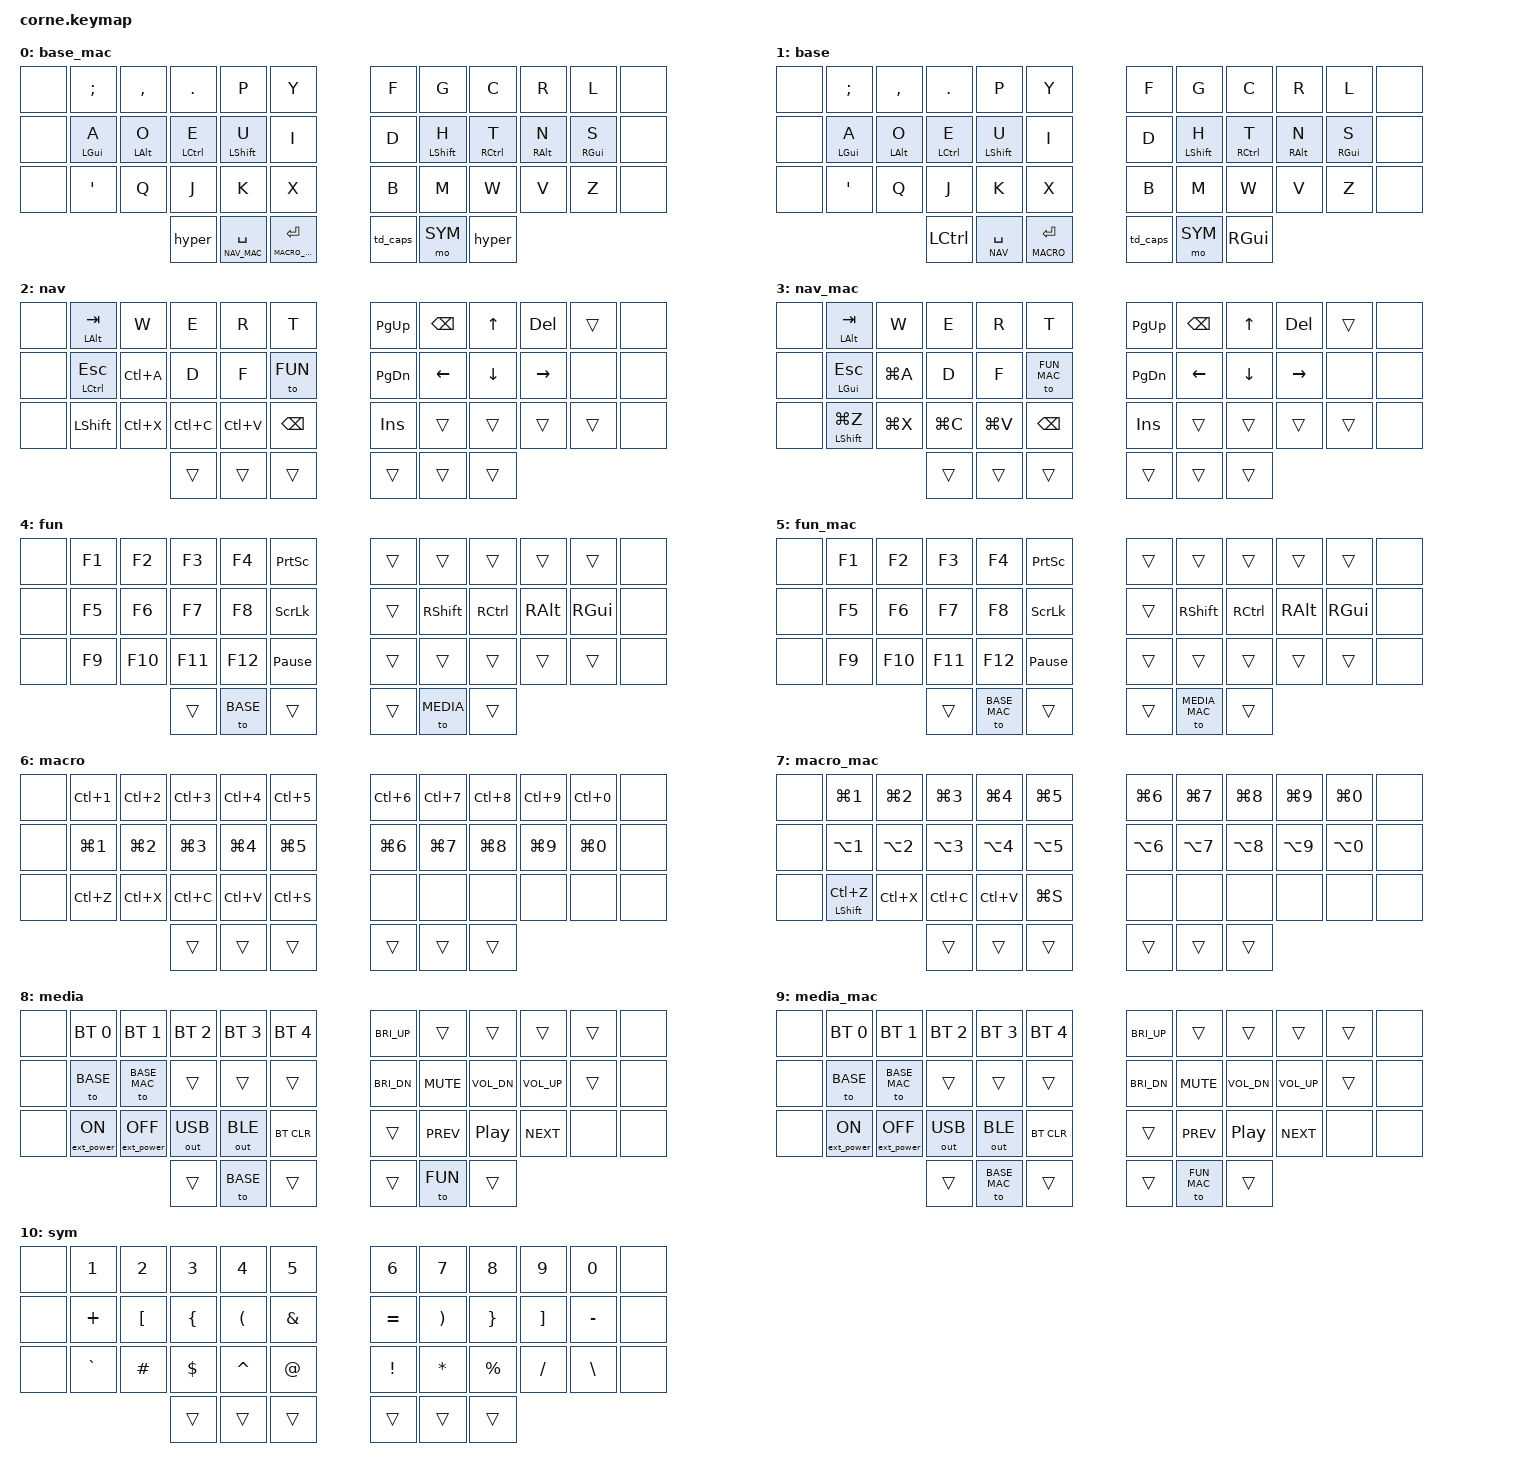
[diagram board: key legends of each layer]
/*
 * Copyright (c) 2020 The ZMK Contributors
 *
 * SPDX-License-Identifier: MIT
 *
 * My take on 'real programmers Dvorak' layout with custom symbol layers.
 * References:
 *     Programmers dv: Programmer Dvorak layout (by Roland Kaufmann)
 *     Real programmers dv: https://github.com/ThePrimeagen
 *     My qmk config: https://github.com/timonviola/qmk_firmware/tree/master/keyboards/crkbd/keymaps/timon
 *
 */

#include <behaviors.dtsi>
#include <dt-bindings/zmk/keys.h>
#include <dt-bindings/zmk/bt.h>
#include <dt-bindings/zmk/outputs.h>
#include <dt-bindings/zmk/ext_power.h>

#define BASE_MAC 0
#define BASE 1
#define NAV 2
#define NAV_MAC 3
#define FUN 4
#define FUN_MAC 5
#define MACRO 6
#define MACRO_MAC 7
#define MEDIA 8
#define MEDIA_MAC 9
#define SYM 10

#define KEYS_L 0 1 2 3 4 5 12 13 14 15 16 17 24 25 26 27 28 29 36 37 38
#define KEYS_R 6 7 8 9 10 11 18 19 20 21 22 23 30 31 32 33 34 35 39 40 41

// This is ok if only a single sticky key is used.
// Create new behavior if multiple &sk is used.
&sk {
    quick-release;
};

/ {
    macros {
        hyper: hyper {
            compatible = "zmk,behavior-macro";
            #binding-cells = <0>;
            bindings = <&macro_press &kp LCTRL &kp LSHIFT &kp LALT &kp LGUI>,
                <&macro_pause_for_release>,
                <&macro_release &kp LCTRL &kp LSHIFT &kp LALT &kp LGUI>;
        };
        hyperkp: hyperkp {
            compatible = "zmk,behavior-macro-one-param";
            #binding-cells = <1>;
            bindings = <&macro_press &kp LCTRL &kp LSHIFT &kp LALT &kp LGUI>,
                <&macro_param_1to1>,
                <&macro_tap &kp MACRO_PLACEHOLDER>,
                <&macro_release &kp LCTRL &kp LSHIFT &kp LALT &kp LGUI>;
        };
    };
    behaviors {
        td_caps: tap_dance_caps_word {
            compatible = "zmk,behavior-tap-dance";
            label = "TD_CAPS_WORD";
            #binding-cells = <0>;
            tapping-term-ms = <200>;
            bindings = <&sk LSHFT>, <&caps_word>;
        };
        /**
         * Positional hold tap, tap preferred
         */
        ptp: positional_hold_tap_pref {
            compatible = "zmk,behavior-hold-tap";
            label = "POSITIONAL_HOLD_TAP_PREF";
            #binding-cells = <2>;
            flavor = "tap-preferred";
            tapping-term-ms = <200>;
            global-quick-tap;
            bindings = <&kp>, <&kp>;
            hold-trigger-on-release;
        };
        /**
         * Positional hold tap, hold preferred
         */
        php: positional_hold_pref_tap {
            compatible = "zmk,behavior-hold-tap";
            label = "POSITIONAL_HOLD_PREF_TAP";
            #binding-cells = <2>;
            flavor = "hold-preferred";
            tapping-term-ms = <100>;
            global-quick-tap;
            bindings = <&kp>, <&kp>;
            hold-trigger-on-release;
        };
        /**
         * Layer positional hold tap, hold preferred
         */
        lphp: layer_positional_hold_pref_tap {
            compatible = "zmk,behavior-hold-tap";
            label = "LAYER_POSITIONAL_HOLD_PREF_TAP";
            #binding-cells = <2>;
            flavor = "hold-preferred";
            tapping-term-ms = <175>;
            global-quick-tap;
            bindings = <&mo>, <&kp>;
            hold-trigger-on-release;
        };
    };
    keymap {
        compatible = "zmk,keymap";

        /**
         * Base layer MacOS
         */
        base_layer_mac {
            label = "base_mac";
            bindings = <
   &none &kp SEMI    &kp COMMA   &kp DOT      &kp P        &kp Y                &kp F &kp G        &kp C        &kp R       &kp L       &none
   &none &ptp LGUI A &ptp LALT O &ptp LCTRL E &ptp LSHFT U &kp I                &kp D &ptp LSHFT H &ptp RCTRL T &ptp RALT N &ptp RGUI S &none
   &none &kp SQT     &kp Q       &kp J        &kp K        &kp X                &kp B &kp M        &kp W        &kp V       &kp Z       &none
                            &hyper &lphp NAV_MAC SPACE &lphp MACRO_MAC RET    &td_caps &mo SYM &hyper
            >;
        };

        /**
         * Base layer
         */
        base_layer {
            label = "base";
            bindings = <
   &none &kp SEMI    &kp COMMA   &kp DOT      &kp P        &kp Y                &kp F &kp G        &kp C        &kp R       &kp L       &none
   &none &ptp LGUI A &ptp LALT O &ptp LCTRL E &ptp LSHFT U &kp I                &kp D &ptp LSHFT H &ptp RCTRL T &ptp RALT N &ptp RGUI S &none
   &none &kp SQT     &kp Q       &kp J        &kp K        &kp X                &kp B &kp M        &kp W        &kp V       &kp Z       &none
                            &kp LCTRL &lphp NAV SPACE &lphp MACRO RET      &td_caps &mo SYM &kp RGUI
            >;
        };

        /**
         * Navigation layer
         */
        nav_layer {
            label = "nav";
            bindings = <
   &none &php LALT TAB  &kp W     &kp E     &kp R     &kp T         &kp PG_UP &kp BSPC &kp UP   &kp DEL   &trans &none
   &none &php LCTRL ESC &kp LC(A) &kp D     &kp F     &to FUN       &kp PG_DN &kp LEFT &kp DOWN &kp RIGHT &none  &none
   &none &kp LSHFT      &kp LC(X) &kp LC(C) &kp LC(V) &kp BSPC      &kp INS  &trans   &trans   &trans    &trans &none
                                      &trans &trans &trans   &trans &trans &trans
            >;
        };

        /**
         * Navigation layer MacOS
         */
        nav_layer_mac {
            label = "nav_mac";
            bindings = <
   &none &php LALT TAB     &kp W     &kp E     &kp R     &kp T          &kp PG_UP &kp BSPC &kp UP   &kp DEL   &trans &none
   &none &php LGUI ESC     &kp LG(A) &kp D     &kp F     &to FUN_MAC    &kp PG_DN &kp LEFT &kp DOWN &kp RIGHT &none  &none
   &none &php LSHIFT LG(Z) &kp LG(X) &kp LG(C) &kp LG(V) &kp BSPC       &kp INS  &trans   &trans   &trans    &trans &none
                                      &trans &trans &trans   &trans &trans &trans
            >;
        };

        /**
         * Function layer
         */
        fun_layer {
            label = "fun";
            bindings = <
   &none &kp F1 &kp F2  &kp F3  &kp F4  &kp PSCRN             &trans &trans    &trans    &trans   &trans    &none
   &none &kp F5 &kp F6  &kp F7  &kp F8  &kp SLCK              &trans &kp RSHFT &kp RCTRL &kp RALT &kp RGUI  &none
   &none &kp F9 &kp F10 &kp F11 &kp F12 &kp PAUSE_BREAK       &trans &trans    &trans    &trans   &trans    &none
                                  &trans &to BASE &trans    &trans &to MEDIA &trans
            >;
        };

        /**
         * Function layer MacOS
         */
        fun_layer_mac {
            label = "fun_mac";
            bindings = <
   &none &kp F1 &kp F2  &kp F3  &kp F4  &kp PSCRN             &trans &trans    &trans    &trans   &trans    &none
   &none &kp F5 &kp F6  &kp F7  &kp F8  &kp SLCK              &trans &kp RSHFT &kp RCTRL &kp RALT &kp RGUI  &none
   &none &kp F9 &kp F10 &kp F11 &kp F12 &kp PAUSE_BREAK       &trans &trans    &trans    &trans   &trans    &none
                              &trans &to BASE_MAC &trans    &trans &to MEDIA_MAC &trans
            >;
        };

        /**
         * Macro layer
         */
        macro_layer {
            label = "macro";
            bindings = <
   &none &kp LC(N1) &kp LC(N2) &kp LC(N3) &kp LC(N4) &kp LC(N5)        &kp LC(N6) &kp LC(N7) &kp LC(N8) &kp LC(N9) &kp LC(N0) &none
   &none &kp LG(N1) &kp LG(N2) &kp LG(N3) &kp LG(N4) &kp LG(N5)        &kp LG(N6) &kp LG(N7) &kp LG(N8) &kp LG(N9) &kp LG(N0) &none
   &none &kp LC(Z)  &kp LC(X)  &kp LC(C)  &kp LC(V)  &kp LC(S)         &none      &none      &none      &none      &none      &none
                                            &trans &trans &trans    &trans &trans &trans
            >;
        };

        /**
         * Macro layer MacOS
         */
        macro_layer_mac {
            label = "macro_mac";
            bindings = <
   &none &kp LG(N1) &kp LG(N2) &kp LG(N3) &kp LG(N4) &kp LG(N5)       &kp LG(N6) &kp LG(N7) &kp LG(N8) &kp LG(N9) &kp LG(N0) &none
   &none &kp LA(N1) &kp LA(N2) &kp LA(N3) &kp LA(N4) &kp LA(N5)       &kp LA(N6) &kp LA(N7) &kp LA(N8) &kp LA(N9) &kp LA(N0) &none
   &none &php LSHIFT LC(Z) &kp LC(X) &kp LC(C) &kp LC(V) &kp LG(S)    &none      &none      &none      &none      &none      &none
                                            &trans &trans &trans    &trans &trans &trans
            >;
        };

        /**
         * Media layer
         */
        media_layer {
            label = "media";
            bindings = <
   &none &bt BT_SEL 0     &bt BT_SEL 1      &bt BT_SEL 2 &bt BT_SEL 3 &bt BT_SEL 4    &kp C_BRI_UP &trans     &trans       &trans       &trans &none
   &none &to BASE         &to BASE_MAC      &trans       &trans       &trans          &kp C_BRI_DN &kp C_MUTE &kp C_VOL_DN &kp C_VOL_UP &trans &none
   &none &ext_power EP_ON &ext_power EP_OFF &out OUT_USB &out OUT_BLE &bt BT_CLR      &trans       &kp C_PREV &kp C_PP     &kp C_NEXT   &none  &none
                                                         &trans &to BASE &trans    &trans &to FUN &trans
            >;
        };

        /**
         * Media layer MacOS
         */
        media_layer_mac {
            label = "media_mac";
            bindings = <
   &none &bt BT_SEL 0     &bt BT_SEL 1      &bt BT_SEL 2 &bt BT_SEL 3 &bt BT_SEL 4    &kp C_BRI_UP &trans     &trans       &trans       &trans &none
   &none &to BASE         &to BASE_MAC      &trans       &trans       &trans          &kp C_BRI_DN &kp C_MUTE &kp C_VOL_DN &kp C_VOL_UP &trans &none
   &none &ext_power EP_ON &ext_power EP_OFF &out OUT_USB &out OUT_BLE &bt BT_CLR      &trans       &kp C_PREV &kp C_PP     &kp C_NEXT   &none  &none
                                                       &trans &to BASE_MAC &trans    &trans &to FUN_MAC &trans
            >;
        };

        /**
         * Symbol layer
         */
        sym_layer {
            label = "sym";
            bindings = <
   &none &kp N1    &kp N2   &kp N3   &kp N4    &kp N5         &kp N6    &kp N7   &kp N8    &kp N9   &kp N0    &none
   &none &kp PLUS  &kp LBKT &kp LBRC &kp LPAR  &kp AMPS       &kp EQUAL &kp RPAR &kp RBRC  &kp RBKT &kp MINUS &none
   &none &kp GRAVE &kp HASH &kp DLLR &kp CARET &kp AT         &kp EXCL  &kp STAR &kp PRCNT &kp FSLH &kp BSLH  &none
                                    &trans &trans &trans   &trans &trans &trans
            >;
        };
    };
};
